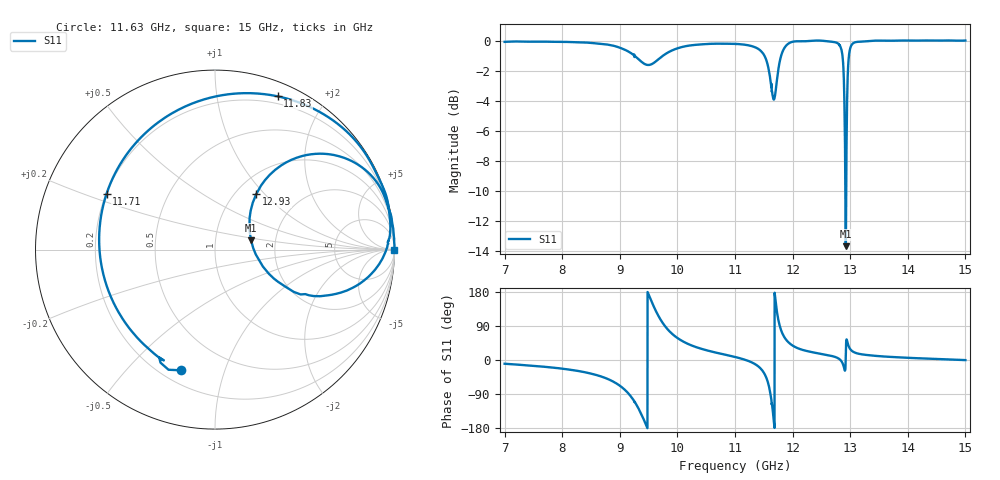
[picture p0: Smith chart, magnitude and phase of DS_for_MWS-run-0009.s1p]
! TOUCHSTONE file generated by CST DESIGN STUDIO
! Date and time: Mon Feb 10 16:45:30 2025
! Project name: C:\Work\MatlabApps\UnitCellType2OptimizationMatlab\CST\unitcell.cst
! Tree item: Tasks\Sweep1\SPara1\S-Parameters
! Header version: 2024
! Port assignment regex: !\s*Touchstone port\s*([0-9]+)\s*=\s*(CST MWS port|CST DES external port|CST DES block port)\s*(.+)\s* \(\"(.*)\"\)(\s*mode\s*([0-9]+))?.*
! Touchstone port assignment:
! Touchstone port 1 = CST DES external port 1 ("")
# GHz S MA R 50
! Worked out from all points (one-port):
!   4001 points, 7 GHz to 15 GHz, reference 50 ohm
!   lowest |S11| = -13.7 dB at 12.92 GHz (marker M1), VSWR 1.52, Z = 74.5 + j8.15 ohm
!   |S11| at or under -10 dB: 12.91652 GHz to 12.93113 GHz (14.6 MHz wide, 0.113 % of centre)
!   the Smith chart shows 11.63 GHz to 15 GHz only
!   S11 on the Smith chart (normalised r, x): 11.63 GHz: 0.28, -0.72; 11.71 GHz: 0.20, +0.23; 11.83 GHz: 0.13, +1.48; 12.93 GHz: 1.24, +0.89; 15 GHz: open
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7  0.9897 -9.9
8  0.9902 -22.9
8.636  0.9762 -41.5
9  0.9465 -67.8
9.27  0.8858 -113.1
9.484  0.8293 178.6
9.6  0.845 137.7
9.702  0.876 108.0
10  0.9418 58.1
10.366  0.9692 31.9
11  0.9745 8.0
11.466  0.9164 -26.1
11.556  0.846 -51.8
11.632  0.6983 -105.6
11.672  0.6365 -158.8
11.706  0.6797 152.7
11.76  0.8189 100.4
11.83  0.9226 67.7
12  0.9904 38.1
12.796  0.9746 4.1
12.88  0.8281 -13.3
12.924  0.2072 14.6
12.934  0.3836 53.4
12.968  0.8458 38.6
13  0.9416 28.8
13.222  0.9922 14.5
14  0.9991 5.8
15  0.9997 -0.3
